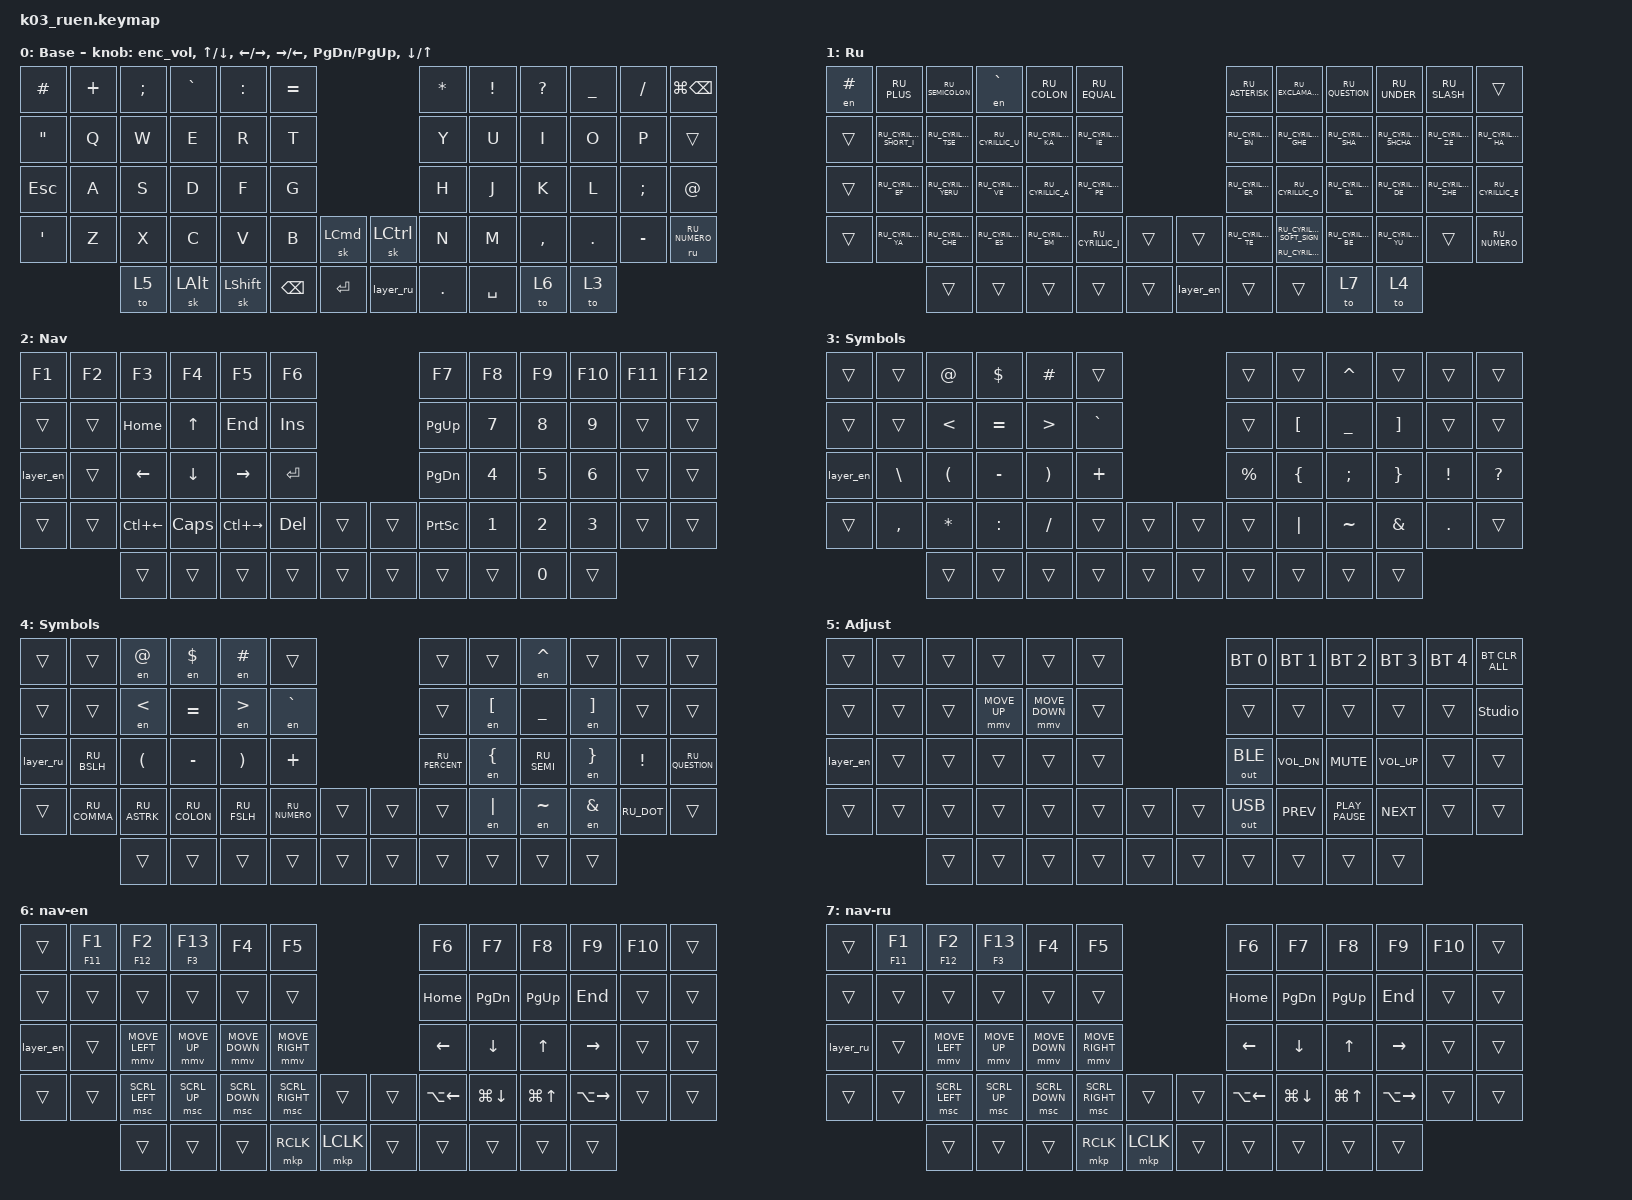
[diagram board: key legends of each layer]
#include "keys_ru.h"
#include <dt-bindings/zmk/mouse.h>
#include <behaviors.dtsi>
#include <dt-bindings/zmk/bt.h>
#include <dt-bindings/zmk/keys.h>
#include <dt-bindings/zmk/outputs.h>
#include <dt-bindings/zmk/pointing.h>

/ {
    behaviors {
        enc_vol: enc_vol {
            compatible = "zmk,behavior-sensor-rotate";
            label = "ENC_VOL";
            #sensor-binding-cells = <0>;
            bindings = <&kp C_VOL_UP>, <&kp C_VOL_DN>;
        };

        tap_hold: tap_hold {
            compatible = "zmk,behavior-hold-tap";
            label = "TAP_HOLD";
            bindings = <&kp>, <&kp>;

            #binding-cells = <2>;
            tapping-term-ms = <300>;
            flavor = "tap-preferred";
            quick-tap-ms = <70>;
        };

        mouse_scroll_rotate: mouse_scroll_rotate {
            compatible = "zmk,behavior-sensor-rotate-var";
            label = "MOUSE_SCROLL_ROTATE";
            #sensor-binding-cells = <2>;
            bindings = <&msc>, <&msc>;
        };

        new_behavior: new_behavior {
            compatible = "zmk,behavior-sensor-rotate-var";
            label = "NEW_BEHAVIOR";
            #sensor-binding-cells = <2>;
            bindings = <&mmv>, <&mmv>;
        };
    };

    combos {
        compatible = "zmk,combos";

        cmben {
            bindings = <&layer_en>;
            key-positions = <27 28>;
            layers = <1>;
        };

        cmbru {
            bindings = <&layer_ru>;
            key-positions = <31 32>;
            layers = <0>;
        };

        cmd+a {
            bindings = <&kp LG(A)>;
            key-positions = <52 42>;
        };

        shift+cmd {
            bindings = <&sk LS(LCMD)>;
            key-positions = <52 53 42>;
        };

        once_shift {
            bindings = <&kp LEFT_SHIFT>;
            key-positions = <52 53>;
        };

        Del {
            bindings = <&kp DEL>;
            key-positions = <53 42>;
        };

        Screenshot {
            bindings = <&kp LC(LA(LG(N5)))>;
            key-positions = <54 42>;
        };

        ctrl+backspace {
            bindings = <&kp LC(BACKSPACE)>;
            key-positions = <54 53>;
        };

        comma {
            bindings = <&kp COMMA>;
            key-positions = <52 56>;
        };
    };

    macros {
        to_ru: to_ru {
            compatible = "zmk,behavior-macro";
            #binding-cells = <0>;
            bindings = <&kp LS(LC(N2))>;
            label = "TO_RU";
            wait-ms = <0>;
            tap-ms = <30>;
        };

        to_en: to_en {
            compatible = "zmk,behavior-macro";
            #binding-cells = <0>;
            bindings = <&kp LS(LC(N1))>;
            label = "TO_EN";
            wait-ms = <0>;
            tap-ms = <30>;
        };

        layer_en: layer_en {
            compatible = "zmk,behavior-macro";
            #binding-cells = <0>;
            bindings = <&to 0 &to_en>;
            label = "LAYER_EN";
            wait-ms = <0>;
            tap-ms = <30>;
        };

        layer_ru: layer_ru {
            compatible = "zmk,behavior-macro";
            #binding-cells = <0>;
            bindings = <&to 1 &to_ru>;
            label = "LAYER_RU";
            tap-ms = <30>;
            wait-ms = <0>;
        };

        en: en {
            compatible = "zmk,behavior-macro-one-param";
            #binding-cells = <1>;
            bindings =
                <&to_en>,
                <&macro_press>,
                <&macro_param_1to1 &kp MACRO_PLACEHOLDER>,
                <&macro_pause_for_release>,
                <&macro_release>,
                <&macro_param_1to1 &kp MACRO_PLACEHOLDER>,
                <&macro_tap>,
                <&to_ru>;

            label = "EN";
            wait-ms = <0>;
            tap-ms = <30>;
        };

        ESC_MAIN: ESC_MAIN {
            compatible = "zmk,behavior-macro";
            #binding-cells = <0>;
            bindings = <&none>;
            label = "ESC_MAIN";
        };

        ru: ru {
            compatible = "zmk,behavior-macro-one-param";
            #binding-cells = <1>;
            bindings =
                <&to_ru>,
                <&macro_press>,
                <&macro_param_1to1 &kp MACRO_PLACEHOLDER>,
                <&macro_pause_for_release>,
                <&macro_release>,
                <&macro_param_1to1 &kp MACRO_PLACEHOLDER>,
                <&macro_tap>,
                <&to_en>;

            label = "RU";
            wait-ms = <0>;
            tap-ms = <30>;
        };
    };

    keymap {
        compatible = "zmk,keymap";

        en {
            bindings = <
&kp HASH  &kp PLUS  &kp SEMI  &kp GRAVE     &kp COLON       &kp EQUAL                              &kp ASTRK  &kp EXCL   &kp QMARK  &kp UNDER  &kp FSLH   &kp LG(BSPC)
&kp DQT   &kp Q     &kp W     &kp E         &kp R           &kp T                                  &kp Y      &kp U      &kp I      &kp O      &kp P      &trans
&kp ESC   &kp A     &kp S     &kp D         &kp F           &kp G                                  &kp H      &kp J      &kp K      &kp L      &kp SEMI   &kp AT_SIGN
&kp SQT   &kp Z     &kp X     &kp C         &kp V           &kp B          &sk LCMD     &sk LCTRL  &kp N      &kp M      &kp COMMA  &kp DOT    &kp MINUS  &ru RU_NUMERO
                    &to 5     &sk LEFT_ALT  &sk LEFT_SHIFT  &kp BACKSPACE  &kp ENTER    &layer_ru  &kp DOT    &kp SPACE  &to 6      &to 3
            >;

            display-name = "Base";
            sensor-bindings =
                <&enc_vol>,
                <&inc_dec_kp UP DOWN>,
                <&inc_dec_kp LEFT RIGHT>,
                <&inc_dec_kp RIGHT_ARROW LEFT_ARROW>,
                <&inc_dec_kp PAGE_DOWN PAGE_UP>,
                <&inc_dec_kp DOWN UP>;

            label = "en";
        };

        ru {
            display-name = "Ru";
            bindings = <
&en HASH  &kp RU_PLUS              &kp RU_SEMICOLON      &en GRAVE           &kp RU_COLON        &kp RU_EQUAL                             &kp RU_ASTERISK     &kp RU_EXCLAMATION                                     &kp RU_QUESTION      &kp RU_UNDER           &kp RU_SLASH         &trans
&trans    &kp RU_CYRILLIC_SHORT_I  &kp RU_CYRILLIC_TSE   &kp RU_CYRILLIC_U   &kp RU_CYRILLIC_KA  &kp RU_CYRILLIC_IE                       &kp RU_CYRILLIC_EN  &kp RU_CYRILLIC_GHE                                    &kp RU_CYRILLIC_SHA  &kp RU_CYRILLIC_SHCHA  &kp RU_CYRILLIC_ZE   &kp RU_CYRILLIC_HA
&trans    &kp RU_CYRILLIC_EF       &kp RU_CYRILLIC_YERU  &kp RU_CYRILLIC_VE  &kp RU_CYRILLIC_A   &kp RU_CYRILLIC_PE                       &kp RU_CYRILLIC_ER  &kp RU_CYRILLIC_O                                      &kp RU_CYRILLIC_EL   &kp RU_CYRILLIC_DE     &kp RU_CYRILLIC_ZHE  &kp RU_CYRILLIC_E
&trans    &kp RU_CYRILLIC_YA       &kp RU_CYRILLIC_CHE   &kp RU_CYRILLIC_ES  &kp RU_CYRILLIC_EM  &kp RU_CYRILLIC_I   &trans    &trans     &kp RU_CYRILLIC_TE  &tap_hold RU_CYRILLIC_HARD_SIGN RU_CYRILLIC_SOFT_SIGN  &kp RU_CYRILLIC_BE   &kp RU_CYRILLIC_YU     &trans               &kp RU_NUMERO
                                   &trans                &trans              &trans              &trans              &trans    &layer_en  &trans              &trans                                                 &to 7                &to 4
            >;

            label = "ru";
        };

        nav {
            bindings = <
&kp F1     &kp F2  &kp F3        &kp F4    &kp F5         &kp F6                     &kp F7           &kp F8  &kp F9  &kp F10  &kp F11  &kp F12
&trans     &trans  &kp HOME      &kp UP    &kp END        &kp INS                    &kp PG_UP        &kp N7  &kp N8  &kp N9   &trans   &trans
&layer_en  &trans  &kp LEFT      &kp DOWN  &kp RIGHT      &kp RET                    &kp PG_DN        &kp N4  &kp N5  &kp N6   &trans   &trans
&trans     &trans  &kp LC(LEFT)  &kp CAPS  &kp LC(RIGHT)  &kp DEL  &trans    &trans  &kp PRINTSCREEN  &kp N1  &kp N2  &kp N3   &trans   &trans
                   &trans        &trans    &trans         &trans   &trans    &trans  &trans           &trans  &kp N0  &trans
            >;

            display-name = "Nav";
            label = "nav";
        };

        sym_en {
            bindings = <
&trans     &trans     &kp AT    &kp DLLR   &kp HASH  &trans                       &trans     &trans    &kp CARET  &trans    &trans    &trans
&trans     &trans     &kp LT    &kp EQUAL  &kp GT    &kp GRAVE                    &trans     &kp LBKT  &kp UNDER  &kp RBKT  &trans    &trans
&layer_en  &kp BSLH   &kp LPAR  &kp MINUS  &kp RPAR  &kp PLUS                     &kp PRCNT  &kp LBRC  &kp SEMI   &kp RBRC  &kp EXCL  &kp QUESTION
&trans     &kp COMMA  &kp STAR  &kp COLON  &kp FSLH  &trans     &trans    &trans  &trans     &kp PIPE  &kp TILDE  &kp AMPS  &kp DOT   &trans
                      &trans    &trans     &trans    &trans     &trans    &trans  &trans     &trans    &trans     &trans
            >;

            display-name = "Symbols";
            label = "sym_en";
        };

        sym_ru {
            display-name = "Symbols";
            bindings = <
&trans     &trans        &en AT        &en DLLR      &en HASH     &trans                           &trans          &trans    &en CARET    &trans    &trans      &trans
&trans     &trans        &en LT        &kp EQUAL     &en GT       &en GRAVE                        &trans          &en LBKT  &kp UNDER    &en RBKT  &trans      &trans
&layer_ru  &kp RU_BSLH   &kp LPAR      &kp MINUS     &kp RPAR     &kp PLUS                         &kp RU_PERCENT  &en LBRC  &kp RU_SEMI  &en RBRC  &kp EXCL    &kp RU_QUESTION
&trans     &kp RU_COMMA  &kp RU_ASTRK  &kp RU_COLON  &kp RU_FSLH  &kp RU_NUMERO  &trans    &trans  &trans          &en PIPE  &en TILDE    &en AMPS  &kp RU_DOT  &trans
                         &trans        &trans        &trans       &trans         &trans    &trans  &trans          &trans    &trans       &trans
            >;

            label = "sym_ru";
        };

        adj {
            bindings = <
&trans     &trans  &trans  &trans        &trans          &trans                    &bt BT_SEL 0  &bt BT_SEL 1  &bt BT_SEL 2      &bt BT_SEL 3  &bt BT_SEL 4  &bt BT_CLR_ALL
&trans     &trans  &trans  &mmv MOVE_UP  &mmv MOVE_DOWN  &trans                    &trans        &trans        &trans            &trans        &trans        &studio_unlock
&layer_en  &trans  &trans  &trans        &trans          &trans                    &out OUT_BLE  &kp C_VOL_DN  &kp K_MUTE        &kp C_VOL_UP  &trans        &trans
&trans     &trans  &trans  &trans        &trans          &trans  &trans    &trans  &out OUT_USB  &kp K_PREV    &kp K_PLAY_PAUSE  &kp K_NEXT    &trans        &trans
                   &trans  &trans        &trans          &trans  &trans    &trans  &trans        &trans        &trans            &trans
            >;

            display-name = "Adjust";
            label = "adj";
        };

        nav-from-en {
            bindings = <
&trans     &tap_hold F11 F1  &tap_hold F12 F2  &tap_hold F3 F13  &kp F4          &kp F5                                &kp F6          &kp F7         &kp F8       &kp F9         &kp F10  &trans
&trans     &trans            &trans            &trans            &trans          &trans                                &kp HOME        &kp PAGE_DOWN  &kp PAGE_UP  &kp END        &trans   &trans
&layer_en  &trans            &mmv MOVE_LEFT    &mmv MOVE_UP      &mmv MOVE_DOWN  &mmv MOVE_RIGHT                       &kp LEFT_ARROW  &kp DOWN       &kp UP       &kp RIGHT      &trans   &trans
&trans     &trans            &msc SCRL_LEFT    &msc SCRL_UP      &msc SCRL_DOWN  &msc SCRL_RIGHT  &trans       &trans  &kp LA(LEFT)    &kp LG(DOWN)   &kp LG(UP)   &kp LA(RIGHT)  &trans   &trans
                             &trans            &trans            &trans          &mkp RCLK        &mkp LCLK    &trans  &trans          &trans         &trans       &trans
            >;

            label = "nav-en";
        };

        nav-from-ru {
            bindings = <
&trans     &tap_hold F11 F1  &tap_hold F12 F2  &tap_hold F3 F13  &kp F4          &kp F5                                &kp F6          &kp F7         &kp F8       &kp F9         &kp F10  &trans
&trans     &trans            &trans            &trans            &trans          &trans                                &kp HOME        &kp PAGE_DOWN  &kp PAGE_UP  &kp END        &trans   &trans
&layer_ru  &trans            &mmv MOVE_LEFT    &mmv MOVE_UP      &mmv MOVE_DOWN  &mmv MOVE_RIGHT                       &kp LEFT_ARROW  &kp DOWN       &kp UP       &kp RIGHT      &trans   &trans
&trans     &trans            &msc SCRL_LEFT    &msc SCRL_UP      &msc SCRL_DOWN  &msc SCRL_RIGHT  &trans       &trans  &kp LA(LEFT)    &kp LG(DOWN)   &kp LG(UP)   &kp LA(RIGHT)  &trans   &trans
                             &trans            &trans            &trans          &mkp RCLK        &mkp LCLK    &trans  &trans          &trans         &trans       &trans
            >;

            label = "nav-ru";
        };
    };
};
